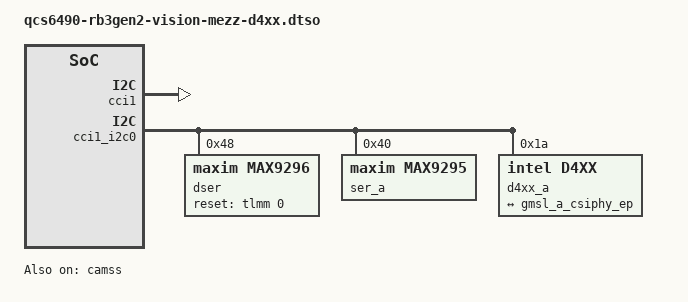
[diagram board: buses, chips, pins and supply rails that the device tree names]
// SPDX-License-Identifier: GPL-2.0-only
/*
 * RealSense D4XX on the Qualcomm RB3 Gen 2 Vision Kit, GMSL input 1.
 *
 * An overlay on the vision-mezzanine device tree Ubuntu ships. One d4xx node
 * per camera: it has no cam-type, so the single instance serves depth, colour,
 * infrared and IMU (README_QCOM.md, "d4xx on this platform").
 *
 * INITIAL: written without the mezzanine schematic. The node shapes and every
 * property the drivers read are those of the Jetson MAX9296 overlay. The board
 * wiring is not known; each value to confirm is marked BOARD:
 *
 *   BOARD 1  the I2C bus of the MAX9296A, and so of the serializer and camera
 *   BOARD 2  the MAX9296A address (its CFG pins)
 *   BOARD 3  the GPIO that takes the MAX9296A out of reset
 *   BOARD 4  the SoC CSIPHY its CSI output reaches (the board calls the GMSL
 *            interfaces CSI4 and CSI5; the SoC has CSIPHY0..4)
 *   BOARD 5  the lane order and clock lane at that CSIPHY
 */

/dts-v1/;
/plugin/;

/* BOARD 1: the controller that owns the bus below */
&cci1 {
	status = "okay";
};

/* BOARD 1: the kit's IMX577 is on cci1_i2c1 */
&cci1_i2c0 {
	#address-cells = <1>;
	#size-cells = <0>;

	/* BOARD 2: unit address and reg. BOARD 3: reset-gpios */
	dser: max9296@48 {
		compatible = "maxim,max9296";
		reg = <0x48>;
		csi-mode = "2x4";
		max-src = <1>;
		reset-gpios = <&tlmm 0 0>;
	};

	ser_a: max9295_a@40 {
		compatible = "maxim,max9295";
		reg = <0x40>;
		maxim,gmsl-dser-device = <&dser>;
	};

	/* 0x1a is the address the serializer translates to the camera's 0x10 */
	d4xx_a: d4xx@1a {
		compatible = "intel,d4xx";
		reg = <0x1a>;
		def-addr = <0x10>;
		maxim,gmsl-ser-device = <&ser_a>;
		maxim,gmsl-dser-device = <&dser>;

		/* vc-id is the depth stream's; colour, infrared and IMU follow */
		gmsl-link {
			src-csi-port = "b";
			dst-csi-port = "a";
			serdes-csi-link = "a";
			csi-mode = "1x4";
			st-vc = <0>;
			vc-id = <0>;
			num-lanes = <2>;
		};

		port {
			d4xx_a_ep: endpoint {
				remote-endpoint = <&gmsl_a_csiphy_ep>;
			};
		};
	};
};

&camss {
	status = "okay";

	ports {
		#address-cells = <1>;
		#size-cells = <0>;

		/* BOARD 4: unit address and reg */
		port@4 {
			reg = <4>;

			gmsl_a_csiphy_ep: endpoint {
				/* BOARD 5 */
				clock-lanes = <7>;
				data-lanes = <0 1 2 3>;
				/* The 1500 Mbps/lane the MAX9296 driver programs;
				 * d4xx reports no rate, so CAMSS takes this one.
				 */
				link-frequencies = /bits/ 64 <750000000>;
				remote-endpoint = <&d4xx_a_ep>;
			};
		};
	};
};
